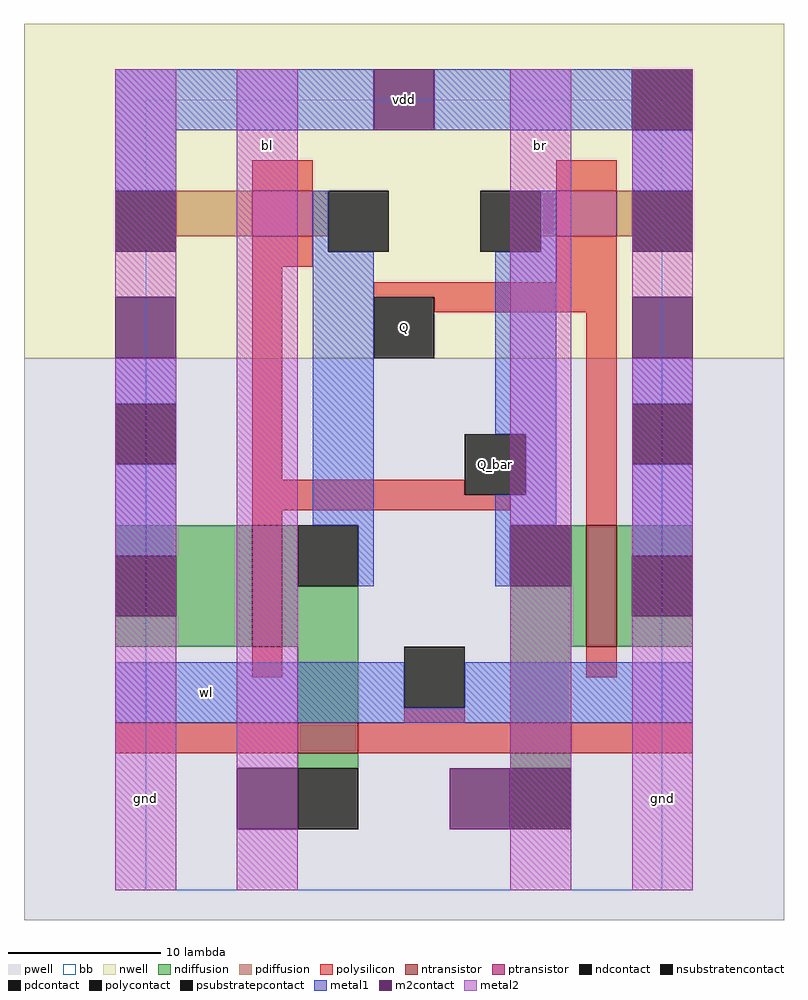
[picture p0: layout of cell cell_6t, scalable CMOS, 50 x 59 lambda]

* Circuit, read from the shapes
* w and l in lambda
.subckt cell_6t Q Q_bar bl br gnd vdd wl
M1 Q Q_bar gnd gnd nfet w=8 l=2
M2 Q wl bl gnd nfet w=4 l=2
M3 Q_bar wl br gnd nfet w=4 l=2
M4 gnd Q Q_bar gnd nfet w=8 l=2
M5 Q Q_bar vdd vdd pfet w=3 l=4
M6 vdd Q Q_bar vdd pfet w=3 l=4
.ends

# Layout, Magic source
magic
tech scmos
<< nwell >>
rect -8 35 42 57
<< pwell >>
rect -8 -2 42 35
<< ntransistor >>
rect 7 16 9 24
rect 29 16 31 24
rect 10 9 14 11
rect 24 9 28 11
<< ptransistor >>
rect 7 43 11 46
rect 27 43 31 46
<< ndiffusion >>
rect -2 22 7 24
rect 2 18 7 22
rect -2 16 7 18
rect 9 20 10 24
rect 9 16 14 20
rect 28 20 29 24
rect 24 16 29 20
rect 31 22 36 24
rect 31 18 32 22
rect 31 16 36 18
rect 10 11 14 16
rect 24 11 28 16
rect 10 8 14 9
rect 24 8 28 9
<< pdiffusion >>
rect 2 43 7 46
rect 11 43 12 46
rect 26 43 27 46
rect 31 43 32 46
<< ndcontact >>
rect -2 18 2 22
rect 10 20 14 24
rect 24 20 28 24
rect 32 18 36 22
rect 10 4 14 8
rect 24 4 28 8
<< pdcontact >>
rect -2 42 2 46
rect 12 42 16 46
rect 22 42 26 46
rect 32 42 36 46
<< psubstratepcontact >>
rect -2 28 2 32
rect 32 28 36 32
<< nsubstratencontact >>
rect 32 50 36 54
<< polysilicon >>
rect 7 46 11 48
rect 27 46 31 48
rect 7 41 11 43
rect 7 27 9 41
rect 27 40 31 43
rect 15 39 31 40
rect 19 38 31 39
rect 7 26 21 27
rect 7 25 24 26
rect 7 24 9 25
rect 29 24 31 38
rect 7 14 9 16
rect 17 11 21 12
rect 29 14 31 16
rect -2 9 10 11
rect 14 9 24 11
rect 28 9 36 11
<< polycontact >>
rect 15 35 19 39
rect 21 26 25 30
rect 17 12 21 16
<< metal1 >>
rect -2 50 15 54
rect 19 50 32 54
rect -2 46 2 50
rect 32 46 36 50
rect 11 42 12 46
rect 26 42 27 46
rect -2 32 2 35
rect -2 22 2 28
rect 11 24 15 42
rect 23 30 27 42
rect 25 26 27 30
rect 14 20 15 24
rect 23 24 27 26
rect 32 32 36 35
rect 23 20 24 24
rect 32 22 36 28
rect -2 12 17 15
rect 21 12 36 15
rect -2 11 36 12
<< m2contact >>
rect 15 50 19 54
rect -2 35 2 39
rect 32 35 36 39
rect 6 4 10 8
rect 20 4 24 8
<< metal2 >>
rect -2 39 2 54
rect -2 0 2 35
rect 6 8 10 54
rect 6 0 10 4
rect 24 0 28 54
rect 32 39 36 54
rect 32 0 36 35
<< bb >>
rect 0 0 34 52
<< labels >>
rlabel metal2 0 6 0 6 1 gnd
rlabel metal2 34 6 34 6 1 gnd
rlabel m2contact 17 52 17 52 5 vdd
rlabel metal2 8 49 8 49 1 bl
rlabel metal2 26 49 26 49 1 br
rlabel metal1 4 13 4 13 1 wl
rlabel polycontact 17 37 17 37 1 Q
rlabel polycontact 23 28 23 28 1 Q_bar
<< end >>
